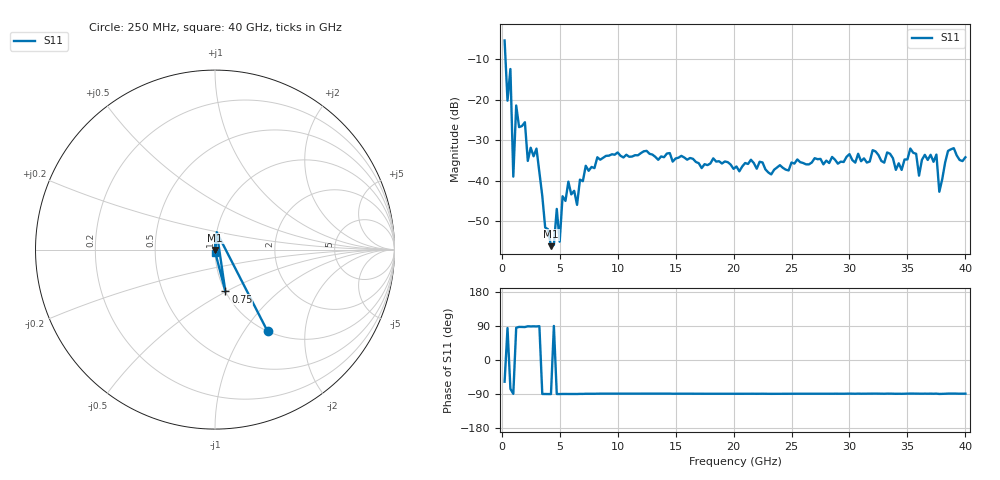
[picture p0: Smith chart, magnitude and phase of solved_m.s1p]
!Created with skrf (http://scikit-rf.org).
# GHz S RI R 50.0
!freq ReS11 ImS11
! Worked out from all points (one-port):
!   160 points, 250 MHz to 40 GHz, reference 50 ohm
!   lowest |S11| = -56.1 dB at 4.25 GHz (marker M1), VSWR 1.00, Z = 50 - j0.157 ohm
!   |S11| at or under -10 dB: 328.4 MHz to end of sweep
!   S11 on the Smith chart (normalised r, x): 250 MHz: 1.00, -1.29; 750 MHz: 1.00, -0.50; 40 GHz: 1.00, -0.04
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0.25  0.2927 -0.455
0.5  0.00955 0.0972
0.75  0.0578 -0.2334
1  0.000128 -0.0113
1.25  0.00727 0.085
2  0.00281 0.053
2.25  0.000312 0.0177
3  0.000626 0.025
3.75  7.08e-06 -0.00266
4.25  2.45e-06 -0.00157
4.75  2.04e-05 -0.00451
5  3.17e-06 -0.00178
5.25  4.19e-05 -0.00647
5.75  9.59e-05 -0.00979
6.5  2.56e-05 -0.00506
7.25  0.000236 -0.0154
10.25  0.000417 -0.0204
15.25  0.000375 -0.0194
20.25  0.000227 -0.0151
25.25  0.000268 -0.0164
30.25  0.000326 -0.018
34.5  0.000187 -0.0137
35.25  0.00063 -0.0251
36  0.000135 -0.0116
37.5  0.000446 -0.0211
37.75  5.4e-05 -0.00735
38.5  0.00055 -0.0234
40  0.000383 -0.0196
